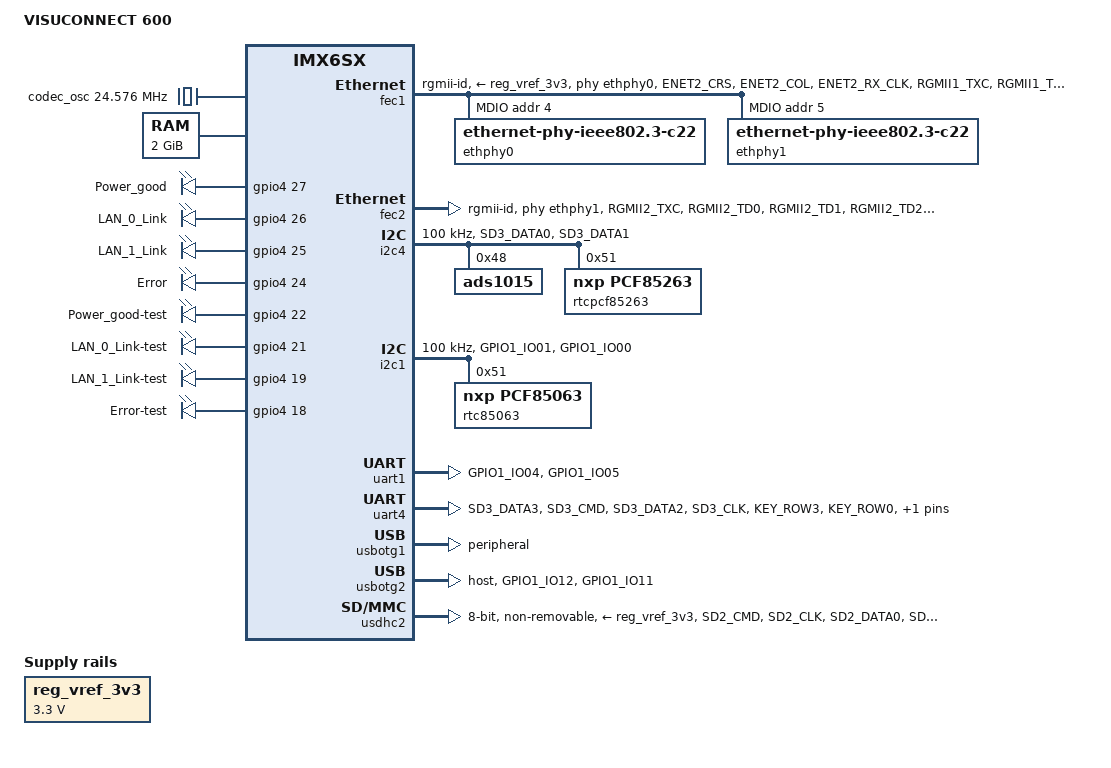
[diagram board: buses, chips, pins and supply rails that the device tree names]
/*
 * Copyright (C) 2016-2019 F&S Elektronik Systeme GmbH
 *
 * This program is free software; you can redistribute it and/or modify
 * it under the terms of the GNU General Public License version 2 as
 * published by the Free Software Foundation.
 */

/dts-v1/;

/* Set board revision as 3-digit number, e.g. 110 for board rev. 1.10 */
#define CONFIG_VC600_BOARD_REVISION	120

/* CMA: Set 320 MB for Continuous Memory Allocator */
#define CONFIG_VC600_CMA_SIZE 0x14000000

/* EMMC - SD_B - Internal SD port */
#define CONFIG_VC600_EMMC

/* Network */
#define CONFIG_VC600_ETH0
#define CONFIG_VC600_ETH1

/* USB */
#define CONFIG_VC600_USB_OTG1
#define CONFIG_VC600_USB_HOST

/* I2C */
#define CONFIG_VC600_I2C_A
#define CONFIG_VC600_I2C_C

/* UART */
#define CONFIG_VC600_UART_A
#define CONFIG_VC600_UART_C
#define CONFIG_VC600_UART_C_RTSCTS

/* Check for invalid CONFIG combinations */

/* If UART_C is not used, also RTS/CTS may not be used */
#ifndef CONFIG_VC600_UART_C
#undef CONFIG_VC600_UART_C_RTSCTS
#endif


#include "imx6sx.dtsi"
#include <dt-bindings/rtc/nxp,pcf85263.h>

/ {
	model = "VISUCONNECT 600";
	compatible = "fus,imx6sx-picocoremx6sx", "fsl,imx6sx";

 	aliases {
 		nand = &gpmi;
 		emmc = &usdhc2;
		rpmsg = &rpmsg;
		gpc = &gpc;
		gpu3d = &gpu3d;
 	};


	clocks {
		codec_osc: anaclk2 {
			#clock-cells = <0>;
			compatible = "fixed-clock";
			clock-frequency = <24576000>;
		};
	};

	memory {
		reg = <0x80000000 0x80000000>;
	};

	regulators {
		compatible = "simple-bus";
		#address-cells = <1>;
		#size-cells = <0>;

		reg_vref_3v3: regulator@0 {
			compatible = "regulator-fixed";
			regulator-name = "vref-3v3";
			regulator-min-microvolt = <3300000>;
			regulator-max-microvolt = <3300000>;
			regulator-always-on;
		};
	};

	/* F&S board information */
	bdinfo {
		compatible = "bdinfo";
		board_name = "VISUCONNECT 600";
		ecc_strength = "8";
	};

	gpioleds {
		compatible = "gpio-leds";
		pinctrl-names = "default";
		pinctrl-0 = <&pinctrl_led>;

		led0 {
			label = "Power_good";
			gpios = <&gpio4 27 GPIO_ACTIVE_HIGH>;
			default-state = "on";
		};

		led1 {
			label = "LAN_0_Link";
			gpios = <&gpio4 26 GPIO_ACTIVE_HIGH>;
			default-state = "off";
		};

		led2 {
			label = "LAN_1_Link";
			gpios = <&gpio4 25 GPIO_ACTIVE_HIGH>;
			default-state = "off";
		};

		led3 {
			label = "Error";
			gpios = <&gpio4 24 GPIO_ACTIVE_HIGH>;
			default-state = "off";
		};

		/* Test pins must be set to high, if not the LEDs light up
		 * slightly
		 */
		led0_test {
			label = "Power_good-test";
			gpios = <&gpio4 22 GPIO_ACTIVE_HIGH>;
			default-state = "on";
		};

		led1_test {
			label = "LAN_0_Link-test";
			gpios = <&gpio4 21 GPIO_ACTIVE_HIGH>;
			default-state = "on";
		};

		led2_test {
			label = "LAN_1_Link-test";
			gpios = <&gpio4 19 GPIO_ACTIVE_HIGH>;
			default-state = "on";
		};

		led3_test {
			label = "Error-test";
			gpios = <&gpio4 18 GPIO_ACTIVE_HIGH>;
			default-state = "on";
		};
	};
};

/* RAM size for Continues Memory Allocator */
&cma {
	size = <CONFIG_VC600_CMA_SIZE>;
};

&busfreq {
	/* Disable bus frequency scaling, because reducing bus frequency to
	   24 MHz does not work with all types of DDR3 RAM */
	disable-scaling;
};

#ifdef CONFIG_VC600_ETH0
&fec1 {
	pinctrl-names = "default";
	pinctrl-0 = <&pinctrl_enet1>;
	phy-mode = "rgmii-id";
	phy-handle = <&ethphy0>;
	phy-supply = <&reg_vref_3v3>;
	fsl,magic-packet;
	status = "okay";

	/* The MDIO bus on FEC1 holds both PHYs */
	mdio {
		#address-cells = <1>;
		#size-cells = <0>;

		ethphy0: ethernet-phy@4 {
			compatible = "ethernet-phy-ieee802.3-c22";
			reg = <4>;
		};

#ifdef CONFIG_VC600_ETH1
		ethphy1: ethernet-phy@5 {
			compatible = "ethernet-phy-ieee802.3-c22";
			reg = <5>;
		};
#endif
	};
};
#endif /* CONFIG_VC600_ETH0 */

#ifdef CONFIG_VC600_ETH1
&fec2 {
	pinctrl-names = "default";
	pinctrl-0 = <&pinctrl_enet2>;
	phy-mode = "rgmii-id";
	phy-handle = <&ethphy1>;
	fsl,magic-packet;
	status = "okay";
};
#endif /* CONFIG_VC600_ETH1 */

#ifdef CONFIG_VC600_I2C_A
/*
 * I2C_A implemented via I2C4; used for ADS1015IDG
 */
&i2c4 {
	clock-frequency = <100000>;
	pinctrl-names = "default";
	pinctrl-0 = <&pinctrl_i2c4>;
	status = "okay";

	ads1015@48 {
	    compatible = "ads1015";
	    reg = <0x48>;
	    #address-cells = <1>;
	    #size-cells = <0>;

		channel@4 {
			reg = <4>;
			ti,gain = <1>;
			ti,datarate = <0>;
		};

		channel@5 {
			reg = <5>;
			ti,gain = <1>;
			ti,datarate = <0>;
		};

		channel@6 {
			reg = <6>;
			ti,gain = <1>;
			ti,datarate = <0>;
		};
    };

	rtcpcf85263@51 {
		compatible = "nxp,pcf85263";
		reg = <0x51>;
		/* IRQ is not connected */
		//interrupt-parent = <&gpio4>;
		//interrupts = <5 IRQ_TYPE_LEVEL_LOW>;
		//interrupt-names = "INTB";

		quartz-load-capacitance = <PCF85263_QUARTZCAP_12p5pF>;
		quartz-drive-strength = <PCF85263_QUARTZDRIVE_LOW>;
	};
};
#endif /* CONFIG_VC600_I2C_A */

#ifdef CONFIG_VC600_I2C_C
/*
 * I2C_C implemented via I2C1; used for on-board RTC, on-board LVDS connector;
 * On picocore bb: Audio Codec (SGTL5000), HDMI
 */
&i2c1 {
	clock-frequency = <100000>;
	pinctrl-names = "default";
	pinctrl-0 = <&pinctrl_i2c1>;
	status = "okay";

	rtc85063@51 {
		compatible = "nxp,pcf85063";
		reg = <0x51>;
		cap_12_5pf;
	};

};
#endif /* CONFIG_VC600_I2C_C */

#ifdef CONFIG_VC600_UART_A
/* UART_A implemented by UART1: TXD, RXD only */
&uart1 {
	pinctrl-names = "default";
	pinctrl-0 = <&pinctrl_uart1>;
	status = "okay";
};
#endif /* CONFIG_VC600_UART_A */

#ifdef CONFIG_VC600_UART_C
/* UART_C implemented by UART4: TXD, RXD,  RTS, CTS */
&uart4 {
	pinctrl-names = "default";
	pinctrl-0 = <&pinctrl_uart4>;
#ifdef CONFIG_VC600_UART_C_RTSCTS
	uart-has-rtscts;
#endif
	status = "okay";
};
#endif /* CONFIG_VC600_UART_C */

#ifdef CONFIG_VC600_USB_OTG1
&usbotg1 {
	dr_mode = "peripheral";
	status = "okay";
};
#endif

#ifdef CONFIG_VC600_USB_HOST
&usbotg2 {
	pinctrl-names = "default";
	pinctrl-0 = <&pinctrl_usbotg2>;
	dr_mode = "host";
	power-active-high;
	over-current-active-low;
	status = "okay";
};
#endif

#ifdef CONFIG_VC600_EMMC
/* EMMC implemented via USDHC2 */
&usdhc2 {
	pinctrl-names = "default";
	pinctrl-0 = <&pinctrl_usdhc2_emmc>;
	non-removable;
	bus-width = <8>;
	vmmc-supply = <&reg_vref_3v3>;
	vqmmc-supply = <&reg_vref_3v3>;
	voltage-ranges = <3300 3300>;
	no-1-8-v;
	keep-power-in-suspend;
	status = "okay";
};
#endif

&iomuxc {
	pinctrl-names = "default";
	pinctrl-0 = <&pinctrl_hog>;

	visuconnect600 {
		pinctrl_hog: hoggrp {
			fsl,pins = <
				/* GPIO */
				/* U10_ST */
				MX6SX_PAD_KEY_COL1__GPIO2_IO_11		0x000b0
				/* U8_ST */
				MX6SX_PAD_KEY_COL3__GPIO2_IO_13		0x000b0
				/* PWR_SRC */
				MX6SX_PAD_KEY_ROW4__GPIO2_IO_19		0x000b0
				/* PHY_RST */
				MX6SX_PAD_ENET1_MDC__GPIO2_IO_2		0x0b0b0
				/* DVS */
				MX6SX_PAD_USB_H_STROBE__GPIO7_IO_11	0x130b0
				/* Backup Switch */
				MX6SX_PAD_QSPI1A_DATA1__GPIO4_IO_17	0x000b0
			>;
		};

		pinctrl_led: ledgrp {
			fsl,pins = <
				/* LED0 */
				MX6SX_PAD_QSPI1B_DATA3__GPIO4_IO_27	0x030b0
				MX6SX_PAD_QSPI1A_SS0_B__GPIO4_IO_22	0x000b0
				/* LED1 */
				MX6SX_PAD_QSPI1B_DATA2__GPIO4_IO_26	0x030b0
				MX6SX_PAD_QSPI1A_SCLK__GPIO4_IO_21	0x000b0
				/* LED2 */
				MX6SX_PAD_QSPI1B_DATA1__GPIO4_IO_25	0x030b0
				MX6SX_PAD_QSPI1A_DATA3__GPIO4_IO_19	0x000b0
				/* LED3 */
				MX6SX_PAD_QSPI1B_DATA0__GPIO4_IO_24	0x030b0
				MX6SX_PAD_QSPI1A_DATA2__GPIO4_IO_18	0x000b0
			>;
		};

#ifdef CONFIG_VC600_ETH0
		pinctrl_enet1: enet1grp {
			fsl,pins = <
				/* MDIO */
				MX6SX_PAD_ENET2_CRS__ENET1_MDIO		0x0a0b1
				MX6SX_PAD_ENET2_COL__ENET1_MDC		0x0a0b1

				/* FEC1 */
				MX6SX_PAD_ENET2_RX_CLK__ENET2_REF_CLK_25M 0x0a0b9
//				MX6SX_PAD_ENET1_TX_CLK__ENET1_REF_CLK1	0x0a0b1
				MX6SX_PAD_RGMII1_TXC__ENET1_RGMII_TXC	0x0a0b9
				MX6SX_PAD_RGMII1_TD0__ENET1_TX_DATA_0	0x0a0b1
				MX6SX_PAD_RGMII1_TD1__ENET1_TX_DATA_1	0x0a0b1
				MX6SX_PAD_RGMII1_TD2__ENET1_TX_DATA_2	0x0a0b1
				MX6SX_PAD_RGMII1_TD3__ENET1_TX_DATA_3	0x0a0b1
				MX6SX_PAD_RGMII1_TX_CTL__ENET1_TX_EN	0x0a0b1
				MX6SX_PAD_RGMII1_RXC__ENET1_RX_CLK		0x03081
				MX6SX_PAD_RGMII1_RD0__ENET1_RX_DATA_0	0x03081
				MX6SX_PAD_RGMII1_RD1__ENET1_RX_DATA_1	0x03081
				MX6SX_PAD_RGMII1_RD2__ENET1_RX_DATA_2	0x03081
				MX6SX_PAD_RGMII1_RD3__ENET1_RX_DATA_3	0x03081
				MX6SX_PAD_RGMII1_RX_CTL__ENET1_RX_EN	0x03081
			>;
		};
#endif

#ifdef CONFIG_VC600_ETH1
		pinctrl_enet2: enet2grp {
			fsl,pins = <
				/* FEC2 uses MDIO bus from FEC1 */
				MX6SX_PAD_RGMII2_TXC__ENET2_RGMII_TXC	0x0a0b9
				MX6SX_PAD_RGMII2_TD0__ENET2_TX_DATA_0	0x0a0b1
				MX6SX_PAD_RGMII2_TD1__ENET2_TX_DATA_1	0x0a0b1
				MX6SX_PAD_RGMII2_TD2__ENET2_TX_DATA_2	0x0a0b1
				MX6SX_PAD_RGMII2_TD3__ENET2_TX_DATA_3	0x0a0b1
				MX6SX_PAD_RGMII2_TX_CTL__ENET2_TX_EN	0x0a0b1
				MX6SX_PAD_RGMII2_RXC__ENET2_RX_CLK		0x03081
				MX6SX_PAD_RGMII2_RD0__ENET2_RX_DATA_0	0x03081
				MX6SX_PAD_RGMII2_RD1__ENET2_RX_DATA_1	0x03081
				MX6SX_PAD_RGMII2_RD2__ENET2_RX_DATA_2	0x03081
				MX6SX_PAD_RGMII2_RD3__ENET2_RX_DATA_3	0x03081
				MX6SX_PAD_RGMII2_RX_CTL__ENET2_RX_EN	0x03081
			>;
		};
#endif

#ifdef CONFIG_VC600_I2C_A
		/* I2C_A: RGB-Connector (SKIT -> SX8655, LED-driver PCA9632),
		   Touch Connector (SKIT -> FT5x06, MXT), SX8655 (SKIT),
		   Feature Connector (SKIT) */
		pinctrl_i2c4: i2c4grp {
			fsl,pins = <
				MX6SX_PAD_SD3_DATA0__I2C4_SCL		0x4001b8b1
				MX6SX_PAD_SD3_DATA1__I2C4_SDA		0x4001b8b1
			>;
		};
#endif

#ifdef CONFIG_VC600_I2C_C
		/* I2C_C: RTC (PCA8565), LVDS-Connector, SGTL5000 (SKIT) */
		pinctrl_i2c1: i2c1grp {
			fsl,pins = <
				MX6SX_PAD_GPIO1_IO01__I2C1_SDA		0x4001b8b1
				MX6SX_PAD_GPIO1_IO00__I2C1_SCL		0x4001b8b1
			>;
		};
#endif

#ifdef CONFIG_VC600_UART_A
		pinctrl_uart1: uart1grp {
			fsl,pins = <
				MX6SX_PAD_GPIO1_IO04__UART1_TX		0x1b0b1
				MX6SX_PAD_GPIO1_IO05__UART1_RX		0x1b0b1
			>;
		};
#endif

#ifdef CONFIG_VC600_UART_C
		pinctrl_uart4: uart4grp {
			fsl,pins = <
				MX6SX_PAD_SD3_DATA3__UART4_RX		0x1b0b1
				MX6SX_PAD_SD3_CMD__UART4_TX			0x1b0b1
#ifdef CONFIG_VC600_UART_C_RTSCTS
				MX6SX_PAD_SD3_DATA2__UART4_CTS_B	0x1b0b1
				MX6SX_PAD_SD3_CLK__UART4_RTS_B		0x1b0b1
#endif
				/* DTR */
				MX6SX_PAD_KEY_ROW3__GPIO2_IO_18		0x030b0
				/* DSR */
				MX6SX_PAD_KEY_ROW0__GPIO2_IO_15		0x030b0
				/* DCD */
				MX6SX_PAD_KEY_COL4__GPIO2_IO_14		0x030b0
			>;
		};
#endif

#ifdef CONFIG_VC600_USB_HOST
		pinctrl_usbotg2: usbotg2grp {
			fsl,pins = <
				/* USB_OTG2_PWR, active high */
				MX6SX_PAD_GPIO1_IO12__USB_OTG2_PWR	0x03030
				/* USB_OTG2_OC, active low */
				MX6SX_PAD_GPIO1_IO11__USB_OTG2_OC	0x1b000
			>;
		};
#endif

#ifdef CONFIG_VC600_EMMC
		/* EMMC */
		pinctrl_usdhc2_emmc: usdhc2grp-emmc {
			fsl,pins = <
				MX6SX_PAD_SD2_CMD__USDHC2_CMD		0x17091
				MX6SX_PAD_SD2_CLK__USDHC2_CLK		0x17091
				MX6SX_PAD_SD2_DATA0__USDHC2_DATA0	0x17091
				MX6SX_PAD_SD2_DATA1__USDHC2_DATA1	0x17091
				MX6SX_PAD_SD2_DATA2__USDHC2_DATA2	0x17091
				MX6SX_PAD_SD2_DATA3__USDHC2_DATA3	0x17091
				MX6SX_PAD_NAND_DATA04__USDHC2_DATA4	0x17091
				MX6SX_PAD_NAND_DATA05__USDHC2_DATA5	0x17091
				MX6SX_PAD_NAND_DATA06__USDHC2_DATA6	0x17091
				MX6SX_PAD_NAND_DATA07__USDHC2_DATA7	0x17091
				MX6SX_PAD_NAND_RE_B__USDHC2_RESET_B	0x17091
			>;
		};
#endif

	};
};
